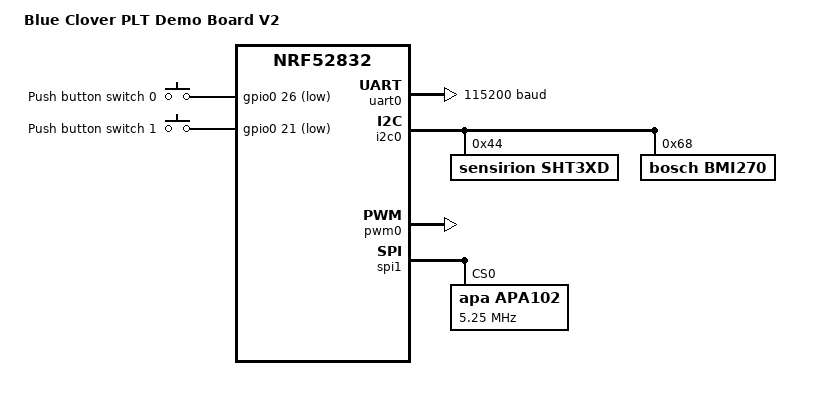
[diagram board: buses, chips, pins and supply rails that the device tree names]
// SPDX-License-Identifier: Apache-2.0

/*
 * Copyright (c) 2021 Blue Clover
 */

/dts-v1/;
#include <nordic/nrf52832_qfaa.dtsi>
#include "blueclover_plt_demo_v2_nrf52832-pinctrl.dtsi"
#include <zephyr/dt-bindings/input/input-event-codes.h>
#include <zephyr/dt-bindings/led/led.h>

/ {
	model = "Blue Clover PLT Demo Board V2";
	compatible = "nordic,blueclover-plt-demo-v2-nrf52832";

	chosen {
		zephyr,console = &uart0;
		zephyr,shell-uart = &uart0;
		zephyr,uart-mcumgr = &uart0;
		zephyr,bt-mon-uart = &uart0;
		zephyr,bt-c2h-uart = &uart0;
		zephyr,sram = &sram0;
		zephyr,flash = &flash0;
		zephyr,code-partition = &slot0_partition;
	};

	buttons {
		compatible = "gpio-keys";

		button0: button_0 {
			gpios = <&gpio0 26 (GPIO_PULL_UP | GPIO_ACTIVE_LOW)>;
			label = "Push button switch 0";
			zephyr,code = <INPUT_KEY_0>;
		};

		button1: button_1 {
			gpios = <&gpio0 21 (GPIO_PULL_UP | GPIO_ACTIVE_LOW)>;
			label = "Push button switch 1";
			zephyr,code = <INPUT_KEY_1>;
		};
	};

	/* These aliases are provided for compatibility with samples */
	aliases {
		sw0 = &button0;
		sw1 = &button1;
		pwm-buzzer = &pwm0;
		watchdog0 = &wdt0;
		accel0 = &bmi270;
		led-strip = &apa102;
	};
};

&reg {
	regulator-initial-mode = <NRF5X_REG_MODE_DCDC>;
};

&uicr {
	gpio-as-nreset;
};

&gpiote {
	status = "okay";
};

&gpio0 {
	status = "okay";
};

&uart0 {
	status = "okay";
	compatible = "nordic,nrf-uart";
	current-speed = <115200>;
	pinctrl-0 = <&uart0_default>;
	pinctrl-1 = <&uart0_sleep>;
	pinctrl-names = "default", "sleep";
};

&i2c0 {
	compatible = "nordic,nrf-twi";
	status = "okay";

	pinctrl-0 = <&i2c0_default>;
	pinctrl-1 = <&i2c0_sleep>;
	pinctrl-names = "default", "sleep";

	sht3xd@44 {
		compatible = "sensirion,sht3xd";
		reg = <0x44>;
	};

	bmi270: bmi270@68 {
		compatible = "bosch,bmi270";
		reg = <0x68>;
	};
};

&pwm0 {
	/* buzzer */
	status = "okay";
	pinctrl-0 = <&pwm0_default>;
	pinctrl-1 = <&pwm0_sleep>;
	pinctrl-names = "default", "sleep";
};

&spi1 {
	compatible = "nordic,nrf-spi";
	status = "okay";

	pinctrl-0 = <&spi1_default>;
	pinctrl-1 = <&spi1_sleep>;
	pinctrl-names = "default", "sleep";

	apa102: apa102@0 {
		compatible = "apa,apa102";
		reg = <0>;
		spi-max-frequency = <5250000>;
		chain-length = <4>;
		color-mapping = <LED_COLOR_ID_BLUE
				 LED_COLOR_ID_GREEN
				 LED_COLOR_ID_RED>;
	};
};

&flash0 {
	partitions {
		compatible = "fixed-partitions";
		#address-cells = <1>;
		#size-cells = <1>;

		boot_partition: partition@0 {
			label = "mcuboot";
			reg = <0x00000000 0xc000>;
		};

		slot0_partition: partition@c000 {
			label = "image-0";
			reg = <0x0000C000 0x32000>;
		};

		slot1_partition: partition@3e000 {
			label = "image-1";
			reg = <0x0003E000 0x32000>;
		};

		scratch_partition: partition@70000 {
			label = "image-scratch";
			reg = <0x00070000 0xa000>;
		};

		storage_partition: partition@7a000 {
			label = "storage";
			reg = <0x0007a000 0x00006000>;
		};
	};
};
